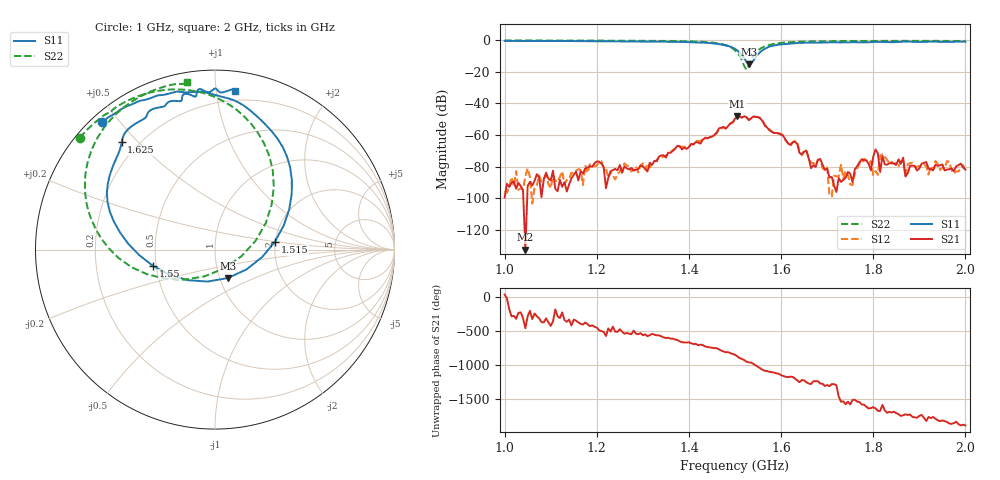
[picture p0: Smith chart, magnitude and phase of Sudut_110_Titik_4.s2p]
# Hz S RI R 50
! CMT, C1220, 16058040, 17.2.0/1
! Date: 14/08/2018 12:30:12
! Data: Format (Calibration Info)
! Freq  S11: Re/Im (F2)  S21: Re/Im (F2)  S12: Re/Im (F2)  S22: Re/Im (F2)
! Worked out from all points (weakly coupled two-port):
!   201 points, 1 GHz to 2 GHz, reference 50 ohm
!   highest |S21| = -47.92 dB at 1.505 GHz (marker M1); lowest = -132.5 dB at 1.045 GHz (marker M2)
!   lowest |S11| = -15.2 dB at 1.53 GHz (marker M3), VSWR 1.42, Z = 54.6 - j17.8 ohm
!   |S11| at or under -10 dB: 1.516 GHz to 1.547 GHz (30.75 MHz wide, 2.01 % of centre)
!   |S22| runs from -18.7 to -0.2 dB; largest |S21 - S12| = 0.00033
!   S11 on the Smith chart (normalised r, x): 1 GHz: 0.03, +0.45; 1.515 GHz: 1.99, +0.19; 1.55 GHz: 0.48, -0.10; 1.625 GHz: 0.14, +0.45; 2 GHz: 0.13, +1.12
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1e9  -0.6275 0.7089  9.04e-06 5.49e-06  -1.63e-06 -1.69e-05  -0.753 0.624
1.045e9  -0.5926 0.7381  -4.8e-08 -2.33e-07  -3.64e-05 3.44e-05  -0.722 0.6574
1.17e9  -0.4515 0.8148  4.13e-05 -4.54e-05  2.52e-05 -8.31e-06  -0.6169 0.7493
1.315e9  -0.213 0.8801  -0.000123 5.13e-05  -9.35e-05 4.13e-06  -0.4393 0.8504
1.335e9  -0.1864 0.8776  -0.000188 8.8e-05  -0.00018 9.43e-05  -0.4016 0.8635
1.45e9  0.202 0.7705  0.00081 -0.000378  0.00079 -0.00044  0.021 0.8399
1.5e9  0.4276 0.3133  -0.00198 -0.00261  -0.00184 -0.00243  0.3277 0.3485
1.505e9  0.4141 0.2267  -0.0035 -0.00198  -0.00327 -0.00197  0.3156 0.2509
1.515e9  0.333 0.043  -0.0035 0.000564  -0.00357 0.00045  0.2265 0.0493
1.53e9  0.0711 -0.1584  -0.00154 0.00254  -0.00155 0.00257  -0.0585 -0.1492
1.55e9  -0.3462 -0.0905  0.00205 0.00308  0.00191 0.00315  -0.4658 -0.0978
1.625e9  -0.5196 0.5978  -1.33e-05 -0.000596  -1.59e-05 -0.000577  -0.6991 0.5216
1.645e9  -0.4825 0.6723  -0.000182 -0.000168  -0.00018 -0.000141  -0.6674 0.5999
1.655e9  -0.4454 0.7001  -0.000322 -5.6e-05  -0.000295 -8.12e-05  -0.65 0.6304
1.67e9  -0.3958 0.7287  -0.000101 -4.82e-05  -7.75e-05 -0.000108  -0.6244 0.6707
1.775e9  -0.1963 0.8266  -0.00012 -0.000125  -7.46e-05 -9.9e-05  -0.462 0.8256
1.795e9  -0.1837 0.8471  -7.66e-05 8.57e-06  -0.000147 3.01e-05  -0.4327 0.8426
1.805e9  -0.1762 0.8635  -0.000348 6.71e-05  -6.87e-05 2.64e-05  -0.419 0.8513
1.815e9  -0.1582 0.8684  -4.52e-05 5.08e-05  -0.000211 7.01e-05  -0.4053 0.8586
1.82e9  -0.1462 0.8655  -0.000171 -0.000144  -0.000163 0.000188  -0.3984 0.8618
1.835e9  -0.1131 0.8524  -6.11e-05 0.000114  -2.82e-05 0.000122  -0.3783 0.872
2e9  0.1111 0.8846  1.49e-05 -8.02e-05  6.93e-06 -7.33e-05  -0.1547 0.9315
